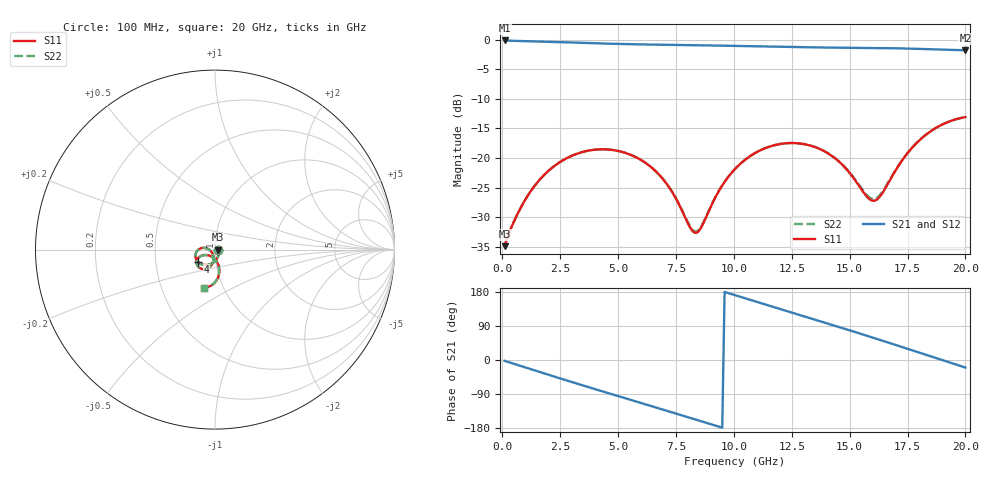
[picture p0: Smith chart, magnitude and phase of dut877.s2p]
! Touchstone file exported from HFSS 2026.1.0
!  File:  C:/ffzhzh/LocalFiles/Ansys_Project_Files/temp_train_TSV_RDL_877_1783272926_38820.aedt
!  Generated:  01:44:01 AM Jul  6, 2026
!  Design:  TSV_RDL
!  Project:  temp_train_TSV_RDL_877_1783272926_38820
! Variables:
!  h_bsmrdl = 5.92um
!  h_ox = 20um
!  h_rdl = 5um
!  h_sub = 97.45um
!  h_tmrdl = 5.97um
!  h_tsv = 97.45um
!  h_via = 3um
!  l_bsmrdl = 525.38um
!  l_sub = 5360.82um
!  l_tmrdl = 817.52um
!  m_sub = 200um
!  pitch = 29.95um
!  r_tsv = 13.54um
!  s_tmrdl = 10um
!  w_bsmrdl = 11.23um
!  w_sub = 500um
!  w_tmrdl = 26.97um
!  x_tsv_center1 = 831.005um
!  x_tsv_center2 = 1367.615um
!  x_tsv_center3 = 2212.105um
!  x_tsv_center4 = 2748.715um
!  x_tsv_center5 = 3593.205um
!  x_tsv_center6 = 4129.815um
# GHz S MA R 50.000000
! Terminal data exported
! Port[1] = TM_RDL1_1_T1
! Port[2] = TM_RDL5_1_T1
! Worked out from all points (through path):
!   200 points, 100 MHz to 20 GHz, reference 50 ohm
!   highest |S21| = -0.16 dB at 100 MHz (marker M1); lowest = -1.8 dB at 20 GHz (marker M2)
!   group delay of S21, straight-line fit = 52.2 ps
!   lowest |S11| = -34.9 dB at 100 MHz (marker M3), VSWR 1.04, Z = 51.8 - j0.094 ohm
!   |S11| at or under -10 dB: start of sweep to end of sweep
!   |S22| runs from -34.9 to -13.1 dB; largest |S21 - S12| = 2.6e-13
!   S11 on the Smith chart (normalised r, x): 100 MHz: 1.04, -0.00; 4 GHz: 0.82, -0.11; 20 GHz: 0.81, -0.36
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0.1  0.01798 -2.9  0.982 -2.2  0.982 -2.2  0.01798 -2.9
! Gamma 0 0 0 0
! Port Impedance 50 0 50 0
0.7  0.03491 -54.5  0.9728 -14.0  0.9728 -14.0  0.03492 -54.5
1.5  0.06166 -88.1  0.9647 -29.5  0.9647 -29.5  0.06169 -88.1
2.4  0.08981 -111.6  0.9527 -46.7  0.9527 -46.7  0.08987 -111.5
3.5  0.1127 -134.9  0.9367 -67.5  0.9367 -67.5  0.1128 -134.7
4  0.1173 -144.5  0.9298 -76.8  0.9298 -76.8  0.1175 -144.3
5.4  0.1089 -169.1  0.9141 -102.6  0.9141 -102.6  0.109 -168.8
6.8  0.07117 172.4  0.9039 -128.4  0.9039 -128.4  0.07144 172.8
7.4  0.04909 170.8  0.9005 -139.4  0.9005 -139.4  0.04945 171.4
8.2  0.02428 -158.6  0.896 -154.3  0.896 -154.3  0.02489 -158.3
8.4  0.02334 -139.4  0.8948 -158.0  0.8948 -158.0  0.02395 -139.6
9.4  0.05451 -98.0  0.8881 -176.7  0.8881 -176.7  0.05471 -98.4
10.1  0.08254 -101.1  0.8826 170.2  0.8826 170.2  0.08267 -101.4
11.7  0.1273 -121.5  0.8691 140.3  0.8691 140.3  0.1274 -121.4
13.4  0.1255 -144.8  0.8583 108.7  0.8583 108.7  0.1258 -144.5
14.6  0.09078 -155.5  0.8541 86.0  0.8541 86.0  0.09138 -155.0
15.9  0.04425 -127.2  0.8499 61.0  0.8499 61.0  0.04573 -127.0
16.2  0.04482 -106.9  0.8485 55.2  0.8485 55.2  0.0463 -107.5
16.7  0.06278 -83.8  0.8455 45.4  0.8455 45.4  0.06385 -84.9
18.2  0.1517 -82.8  0.8312 15.8  0.8312 15.8  0.152 -83.5
19.1  0.1955 -93.9  0.8204 -2.1  0.8204 -2.1  0.1957 -94.5
20  0.2213 -106.3  0.811 -19.9  0.811 -19.9  0.2214 -106.7
